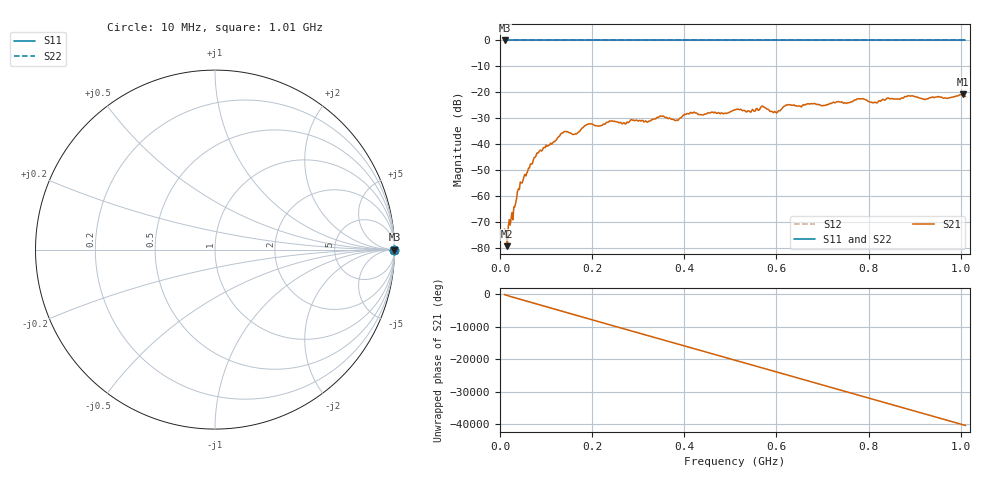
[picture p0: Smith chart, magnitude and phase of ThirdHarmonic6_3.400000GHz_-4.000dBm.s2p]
! 8/17/2025 10:51:22 AM
! C:\ANRITSUVNA\TEMP\TEMP.S2P
! CHANNEL.1
! TR.MEASUREMENT
! RAW.DATA
! RF.CORRECTION.OFF
! AVERAGING.OFF
! IF.BANDWIDTH: 5KHZ
! SWEEPTYPE:  FREQ.SWEEP(Linear)
! Reference Plane Port Info
! PORT:  PORT1  PORT2
! DISTANCE:  0  m  0  m
! TIME:  0  s  0  s
! PHASE.OFFSET:  0  deg.  0  deg.
! LOSS:  0  dB  0  dB
! REF.LOSS:  0  dB  0  dB
! REF.FREQ:  0  Hz  0  Hz
! Power Info
! POWER:  -20  dBm  -20  dBm
! EFF.POWER:  -20  dBm  -20  dBm
! SOURCE.ATTEN:  0  dB  0  dB
! TEST.ATTEN:  0  dB  0  dB
# GHZ S RI R 50.0
! FREQ.GHZ  S11RE  S11IM  S21RE  S21IM  S12RE  S12IM  S22RE  S22IM
!; PortSelection: Port_12
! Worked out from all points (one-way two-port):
!   501 points, 10 MHz to 1.01 GHz, reference 50 ohm
!   highest |S21| = -20.82 dB at 1.004 GHz (marker M1); lowest = -79.3 dB at 16 MHz (marker M2)
!   lowest |S11| = 0.0 dB at 10 MHz (marker M3)
!   |S11| at or under -10 dB: nowhere
!   |S22| runs from 0.0 to 0.0 dB; largest |S21 - S12| = 1.1
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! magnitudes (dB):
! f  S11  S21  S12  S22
! 10 MHz  0.0  -72.8  0.0  0.0
! 16 MHz  0.0  -79.3  0.0  0.0
! 42 MHz  0.0  -57.5  0.0  0.0
! 78 MHz  0.0  -44.6  0.0  0.0
! 136 MHz  0.0  -35.6  0.0  0.0
! 162 MHz  0.0  -36.2  0.0  0.0
! 178 MHz  0.0  -33.8  0.0  0.0
! 194 MHz  0.0  -32.1  0.0  0.0
! 322 MHz  0.0  -31.3  0.0  0.0
! 344 MHz  0.0  -29.6  0.0  0.0
! 382 MHz  0.0  -30.8  0.0  0.0
! 416 MHz  0.0  -28.0  0.0  0.0
! 510 MHz  0.0  -26.7  0.0  0.0
! 570 MHz  0.0  -25.3  0.0  0.0
! 598 MHz  0.0  -27.6  0.0  0.0
! 624 MHz  0.0  -24.8  0.0  0.0
! 678 MHz  0.0  -24.4  0.0  0.0
! 780 MHz  0.0  -22.6  0.0  0.0
! 814 MHz  0.0  -23.8  0.0  0.0
! 844 MHz  0.0  -22.3  0.0  0.0
! 1.004 GHz  0.0  -20.8  0.0  0.0
! 1.01 GHz  0.0  -21.5  0.0  0.0
